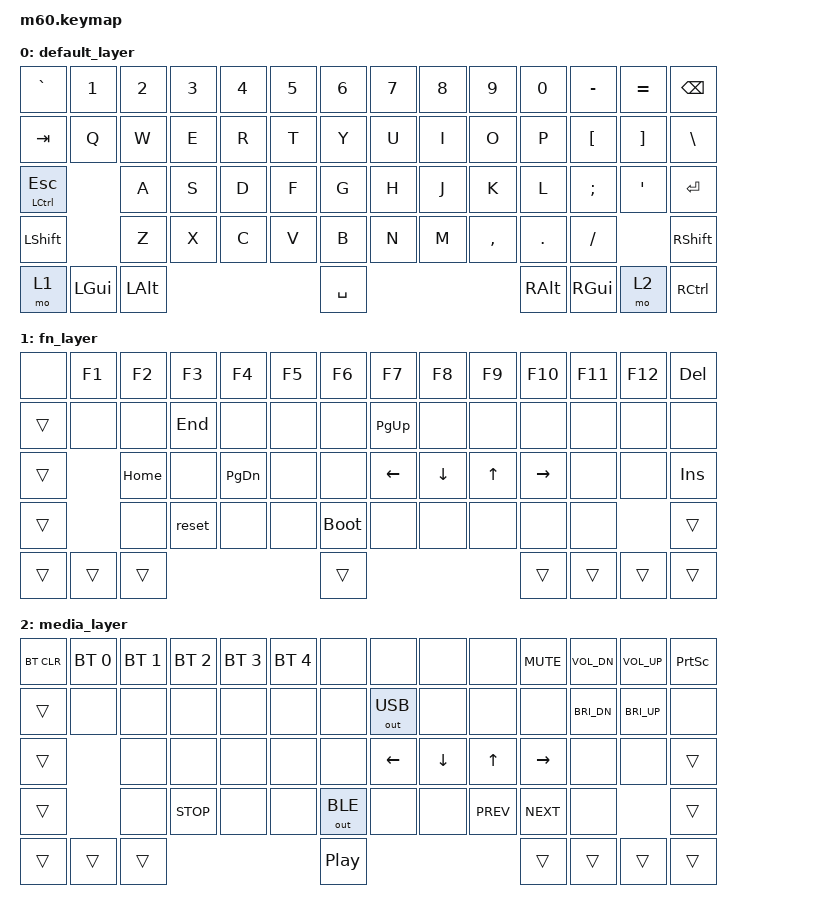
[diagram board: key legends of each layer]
/*
 * Copyright (c) 2020 The ZMK Contributors
 *
 * SPDX-License-Identifier: MIT
 */

#include <behaviors.dtsi>
#include <dt-bindings/zmk/keys.h>
#include <dt-bindings/zmk/bt.h>
#include <dt-bindings/zmk/outputs.h>

/ {
  keymap0: keymap {
    compatible = "zmk,keymap";

    default_layer {
// ------------------------------------------------------------------------------------------
// |  `  |  1  |  2  |  3  |  4  |  5  |  6  |  7  |  8  |  9  |  0  |  -  |  =  |   BKSP   |
// | TAB  |  Q  |  W  |  E  |  R  |  T  |  Y  |  U  |  I  |  O  |  P  |  [  |  ]  |    \    |
// | CTL/ESC |  A  |  S  |  D  |  F  |  G  |  H  |  J  |  K  |  L  |  ;  |  '  |     ENTER  |
// | SHIFT   |  Z  |  X  |  C  |  V  |  B  |  N  |  M  |  ,  |  .  |  /  |      SHIFT       |
// | MO(1)  |  WIN  |  ALT  |            SPACE               | ALT | WIN |  MO(2) | CTRL    |
// ------------------------------------------------------------------------------------------
      bindings = <
&kp GRAVE &kp N1    &kp N2    &kp N3    &kp N4    &kp N5    &kp N6    &kp N7    &kp N8    &kp N9    &kp N0    &kp MINUS &kp EQUAL &kp BSPC
&kp TAB   &kp Q     &kp W     &kp E     &kp R     &kp T     &kp Y     &kp U     &kp I     &kp O     &kp P     &kp LBKT  &kp RBKT  &kp BSLH
&mt LCTRL ESC       &kp A     &kp S     &kp D     &kp F     &kp G     &kp H     &kp J     &kp K     &kp  L    &kp SEMI  &kp SQT   &kp RET
&kp LSHFT           &kp Z     &kp X     &kp C     &kp V     &kp B     &kp N     &kp M     &kp COMMA &kp DOT   &kp FSLH            &kp RSHFT
&mo 1     &kp LGUI  &kp LALT                                &kp SPACE                               &kp  RALT &kp RGUI  &mo 2     &kp  RCTRL
      >;
    };

    fn_layer {
// ------------------------------------------------------------------------------------------
// |     | F1  | F2  | F3  | F4  | F5  | F6  | F7  | F8  | F9  | F10 | F11 | F12 |   DEL    |
// | ___  |     |     | END |     |     |     | PGU |     |     |     |     |     |         |
// | _______ | HME |     | PGD |     |     | LFT | DWN | UP  | RGT |     |     |    INSERT  |
// | _____   |     | RST |     |     |BTLDR|     |     |     |     |     |      _____       |
// | _____  |  ___  |  ___  |            _____               | ___ | ___ |  _____ | ____    |
// ------------------------------------------------------------------------------------------
      bindings = <
&none     &kp F1    &kp F2    &kp F3    &kp F4    &kp F5    &kp F6      &kp F7    &kp F8    &kp F9    &kp F10   &kp F11   &kp F12   &kp DEL
&trans    &none     &none     &kp END   &none     &none     &none       &kp PG_UP &none     &none     &none     &none     &none     &none
&trans              &kp HOME  &none     &kp PG_DN &none     &none       &kp LEFT  &kp DOWN  &kp UP    &kp RIGHT &none     &none     &kp INS
&trans              &none     &reset    &none     &none     &bootloader &none     &none     &none     &none     &none               &trans
&trans    &trans    &trans                                  &trans                                    &trans    &trans    &trans    &trans
      >;
    };

    media_layer {
// ------------------------------------------------------------------------------------------
// |BTCLR| BT0 | BT1 | BT2 | BT3 | BT4 |     |     |     |     | MTE |VOLDN|VOLUP| PRNTSCRN |
// | ____ |     |     |     |     |     |     | USB |     |     |     |BRIDN|BRIUP|         |
// | _______ |     |     |     |     |     |     |     |     |     |     |     |     _____  |
// | _____   |     | STP |     |     | BLE |     |     | PRV | NXT |     |      _____       |
// | _____  |  ___  |  ___  |          PLAY/PAUSE            | ___ | ___ |  _____ | ____    |
// ------------------------------------------------------------------------------------------
      bindings = <
&bt BT_CLR &bt BT_SEL 0 &bt BT_SEL 1 &bt BT_SEL 2 &bt BT_SEL 3 &bt BT_SEL 4 &none        &none        &none     &none      &kp C_MUTE &kp C_VOL_DN &kp C_VOL_UP &kp PSCRN
&trans     &none        &none        &none        &none        &none        &none        &out OUT_USB &none     &none      &none      &kp C_BRI_DN &kp C_BRI_UP &none
&trans                  &none        &none        &none        &none        &none        &kp LEFT     &kp DOWN  &kp UP     &kp RIGHT  &none        &none        &trans
&trans                  &none        &kp C_STOP   &none        &none        &out OUT_BLE &none        &none     &kp C_PREV &kp C_NEXT &none                     &trans
&trans     &trans       &trans                                              &kp C_PP                                       &trans     &trans       &trans       &trans
      >;
    };
  };
};

// KEYMAP TEMPLATE
// ------------------------------------------------------------------------------------------
// |  _  |  _  |  _  |  _  |  _  |  _  |  _  |  _  |  _  |  _  |  _  |  _  |  _  |   ____   |
// | ___  |  _  |  _  |  _  |  _  |  _  |  _  |  _  |  _  |  _  |  _  |  _  |  _  |    _    |
// | _______ |  _  |  _  |  _  |  _  |  _  |  _  |  _  |  _  |  _  |  _  |  _  |     _____  |
// | _____   |  _  |  _  |  _  |  _  |  _  |  _  |  _  |  _  |  _  |  _  |      _____       |
// | _____  |  ___  |  ___  |            _____               | ___ | ___ |  _____ | ____    |
// ------------------------------------------------------------------------------------------
// &none     &none     &none     &none      &none     &none     &none       &none     &none     &none      &none      &none        &none        &none
// &trans    &none     &none     &none      &none     &none     &none       &none     &none     &none      &none      &none        &none        &none
// &trans              &none     &none      &none     &none     &none       &none     &none     &none      &none      &none        &none        &trans
// &trans              &none     &none      &none     &none     &none       &none     &none     &none      &none      &none                     &trans
// &trans    &trans    &trans                                   &trans                                     &trans     &trans       &trans       &trans
